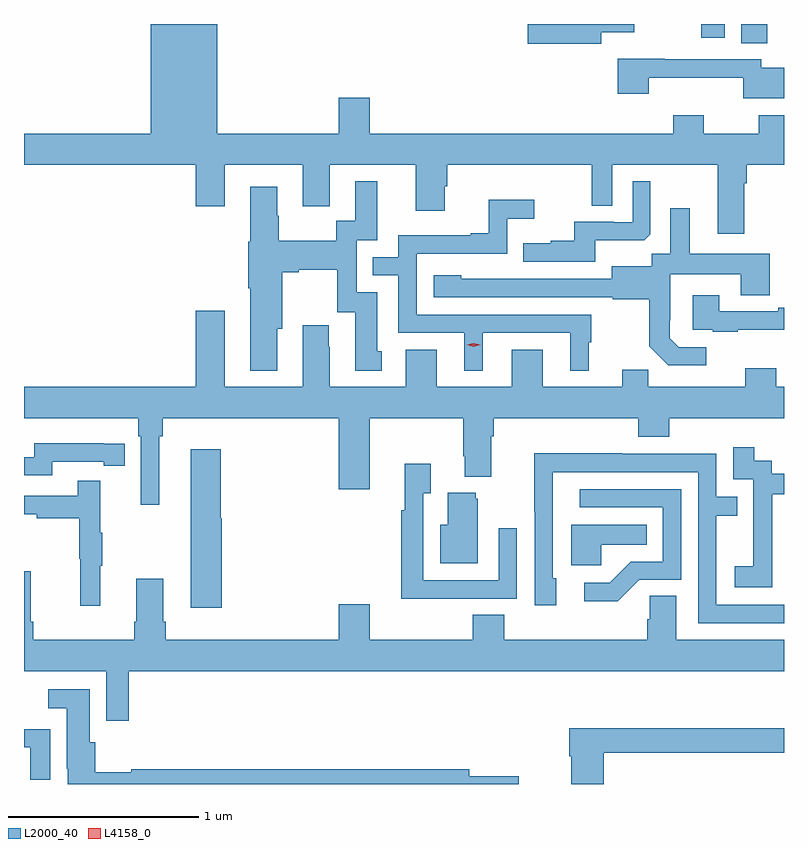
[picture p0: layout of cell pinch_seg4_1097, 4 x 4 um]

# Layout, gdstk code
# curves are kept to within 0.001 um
import gdstk
lib = gdstk.Library(unit=1e-6, precision=1e-09)
def R(c, l, rs):  # rectangles x0, y0, x1, y1
    for r in rs: c.add(gdstk.rectangle(r[:2], r[2:], *l))
def P(c, l, *ps):  # polygons
    for p in ps: c.add(gdstk.Polygon(p, *l))
L2000_40 = (2000, 40)
L4158_0 = (4158, 0)

pinch_seg4_1097 = lib.new_cell('pinch_seg4_1097')
R(pinch_seg4_1097, L2000_40, [(394.898,796.129,395.035,796.23), (394.688,796.158,394.81,796.23)])
P(pinch_seg4_1097, L2000_40, [(394.915,795.392),(394.928,795.392),(394.928,795.488),(395.123,795.488),(395.123,795.751),(394.99,795.751),(394.99,795.652),(394.701,795.652),(394.701,795.751),(394.541,795.751),(394.541,795.652),(392.944,795.652),(392.944,795.841),(392.78,795.841),(392.78,795.652),(392.14,795.652),(392.14,796.23),(391.79,796.23),(391.79,795.652),(391.123,795.652),(391.123,795.488),(392.027,795.488),(392.027,795.27),(392.179,795.27),(392.179,795.488),(392.591,795.488),(392.591,795.27),(392.731,795.27),(392.731,795.488),(393.185,795.488),(393.185,795.246),(393.337,795.246),(393.337,795.375),(393.35,795.375),(393.35,795.488),(394.11,795.488),(394.11,795.274),(394.218,795.274),(394.218,795.488),(394.775,795.488),(394.775,795.126),(394.915,795.126)],
  [(394.162,796.187),(394.335,796.187),(394.335,796.23),(393.774,796.23),(393.774,796.126),(394.162,796.126)],
  [(395.123,796),(395.004,796),(395.004,796.044),(394.495,796.044),(394.495,796.046),(394.247,796.046),(394.247,795.864),(394.412,795.864),(394.412,795.947),(394.908,795.947),(394.908,795.839),(395.123,795.839)],
  [(392.455,794.625),(392.481,794.625),(392.481,794.924),(392.569,794.924),(392.569,794.936),(392.771,794.936),(392.771,794.712),(392.867,794.712),(392.867,794.406),(393.007,794.406),(393.007,794.508),(392.983,794.508),(392.983,794.817),(392.874,794.817),(392.874,795.093),(392.983,795.093),(392.983,795.403),(392.867,795.403),(392.867,795.194),(392.766,795.194),(392.766,795.088),(392.463,795.088),(392.463,795.222),(392.455,795.222),(392.455,795.373),(392.315,795.373),(392.315,795.084),(392.303,795.084),(392.303,794.84),(392.315,794.84),(392.315,794.405),(392.455,794.405)],
  [(394.129,795.092),(394.387,795.092),(394.419,795.123),(394.419,795.403),(394.326,795.403),(394.326,795.186),(394.226,795.186),(394.226,795.189),(394.019,795.189),(394.019,795.088),(393.895,795.088),(393.895,795.076),(393.751,795.076),(393.751,794.979),(394.129,794.979)],
  [(393.538,794.604),(393.998,794.604),(393.998,794.405),(394.096,794.405),(394.096,794.556),(394.108,794.556),(394.108,794.7),(393.189,794.7),(393.189,795.021),(393.666,795.021),(393.666,795.206),(393.808,795.206),(393.808,795.305),(393.568,795.305),(393.568,795.13),(393.473,795.13),(393.473,795.117),(393.093,795.117),(393.093,795.003),(392.959,795.003),(392.959,794.907),(393.093,794.907),(393.093,794.604),(393.44,794.604),(393.44,794.405),(393.538,794.405)],
  [(394.714,794.529),(394.569,794.529),(394.522,794.576),(394.522,794.671),(394.524,794.671),(394.524,794.912),(394.895,794.912),(394.895,794.803),(395.047,794.803),(395.047,795.022),(394.627,795.022),(394.627,795.259),(394.523,795.259),(394.523,795.02),(394.428,795.02),(394.428,794.956),(394.217,794.956),(394.217,794.889),(393.423,794.89),(393.423,794.908),(393.279,794.908),(393.279,794.793),(394.221,794.793),(394.221,794.781),(394.413,794.781),(394.413,794.535),(394.513,794.435),(394.714,794.435)],
  [(394.879,794.621),(395.123,794.621),(395.123,794.737),(395.093,794.737),(395.093,794.718),(394.783,794.718),(394.783,794.803),(394.643,794.803),(394.643,794.622),(394.747,794.622),(394.747,794.61),(394.879,794.61)],
  [(391.834,794.06),(391.853,794.06),(391.853,794.156),(392.78,794.156),(392.78,793.782),(392.944,793.782),(392.944,794.156),(393.436,794.156),(393.436,793.954),(393.443,793.954),(393.443,793.847),(393.583,793.847),(393.583,794.06),(393.596,794.06),(393.596,794.156),(394.355,794.156),(394.355,794.057),(394.52,794.057),(394.52,794.156),(395.123,794.156),(395.123,794.32),(395.083,794.32),(395.083,794.419),(394.919,794.419),(394.919,794.32),(394.409,794.32),(394.409,794.411),(394.271,794.411),(394.271,794.32),(393.853,794.32),(393.853,794.515),(393.689,794.515),(393.689,794.32),(393.295,794.32),(393.295,794.515),(393.131,794.515),(393.131,794.32),(392.731,794.32),(392.731,794.531),(392.728,794.531),(392.728,794.644),(392.591,794.644),(392.591,794.32),(392.179,794.32),(392.179,794.722),(392.027,794.722),(392.027,794.32),(391.123,794.32),(391.123,794.156),(391.724,794.156),(391.724,794.06),(391.737,794.06),(391.737,793.701),(391.834,793.701)],
  [(391.272,793.926),(391.544,793.926),(391.544,793.906),(391.652,793.906),(391.652,794.022),(391.544,794.022),(391.544,794.023),(391.176,794.023),(391.176,793.95),(391.123,793.95),(391.123,793.854),(391.272,793.854)],
  [(395.061,793.471),(395.06,793.471),(395.06,793.755),(395.123,793.755),(395.123,793.863),(395.058,793.863),(395.058,793.932),(394.966,793.932),(394.966,794.002),(394.857,794.002),(394.857,793.833),(394.962,793.833),(394.962,793.604),(394.961,793.604),(394.961,793.375),(394.863,793.375),(394.863,793.265),(395.061,793.265)],
  [(392.164,793.629),(392.159,793.629),(392.159,793.993),(392,793.993),(392,793.158),(392.164,793.158)],
  [(395.123,793.173),(394.767,793.173),(394.767,793.642),(394.877,793.642),(394.877,793.743),(394.767,793.743),(394.767,793.968),(394.271,793.968),(394.271,793.97),(393.808,793.97),(393.808,793.663),(393.81,793.663),(393.81,793.17),(393.925,793.17),(393.925,793.314),(393.906,793.314),(393.906,793.621),(393.907,793.621),(393.907,793.872),(394.671,793.872),(394.671,793.077),(395.123,793.077)],
  [(393.401,793.206),(393.717,793.206),(393.717,793.576),(393.621,793.576),(393.621,793.302),(393.225,793.302),(393.225,793.759),(393.265,793.759),(393.265,793.915),(393.128,793.915),(393.128,793.67),(393.109,793.67),(393.109,793.205),(393.401,793.205)],
  [(391.523,793.379),(391.534,793.379),(391.534,793.553),(391.523,793.553),(391.523,793.825),(391.405,793.825),(391.405,793.746),(391.123,793.746),(391.123,793.65),(391.189,793.65),(391.189,793.63),(391.413,793.63),(391.413,793.416),(391.42,793.416),(391.42,793.167),(391.523,793.167)],
  [(394.362,793.305),(394.581,793.305),(394.581,793.782),(394.047,793.782),(394.047,793.686),(394.485,793.686),(394.485,793.401),(394.316,793.401),(394.205,793.29),(394.071,793.29),(394.071,793.193),(394.249,793.193)],
  [(393.511,793.731),(393.5,793.731),(393.5,793.762),(393.353,793.762),(393.353,793.594),(393.314,793.594),(393.314,793.391),(393.511,793.391)],
  [(394.161,793.49),(394.4,793.49),(394.4,793.594),(394.004,793.594),(394.004,793.382),(394.161,793.382)],
  [(391.673,792.824),(395.123,792.824),(395.123,792.988),(394.555,792.988),(394.555,793.22),(394.416,793.22),(394.416,793.097),(394.403,793.097),(394.403,792.988),(393.65,792.988),(393.65,793.121),(393.485,793.121),(393.485,792.988),(392.944,792.988),(392.944,793.177),(392.78,793.177),(392.78,792.988),(391.868,792.988),(391.868,793.084),(391.855,793.084),(391.855,793.309),(391.715,793.309),(391.715,793.084),(391.703,793.084),(391.703,792.988),(391.172,792.988),(391.172,793.084),(391.159,793.084),(391.159,793.351),(391.123,793.351),(391.123,792.824),(391.557,792.824),(391.557,792.564),(391.673,792.564)],
  [(393.727,792.272),(393.466,792.272),(393.466,792.308),(391.688,792.308),(391.688,792.293),(391.499,792.293),(391.499,792.45),(391.468,792.45),(391.468,792.73),(391.251,792.73),(391.251,792.629),(391.349,792.629),(391.349,792.31),(391.353,792.31),(391.353,792.23),(393.727,792.23)],
  [(394.175,792.394),(395.123,792.394),(395.123,792.523),(393.992,792.523),(393.992,792.377),(394.004,792.377),(394.004,792.23),(394.175,792.23)],
  [(391.261,792.519),(391.123,792.519),(391.123,792.423),(391.157,792.423),(391.157,792.252),(391.261,792.252)])
P(pinch_seg4_1097, L4158_0, [(393.489,794.531),(393.453,794.541),(393.453,794.541),(393.453,794.541),(393.489,794.551),(393.525,794.541),(393.525,794.541),(393.525,794.541)])

lib.write_gds('pinch_seg4_1097.gds')
